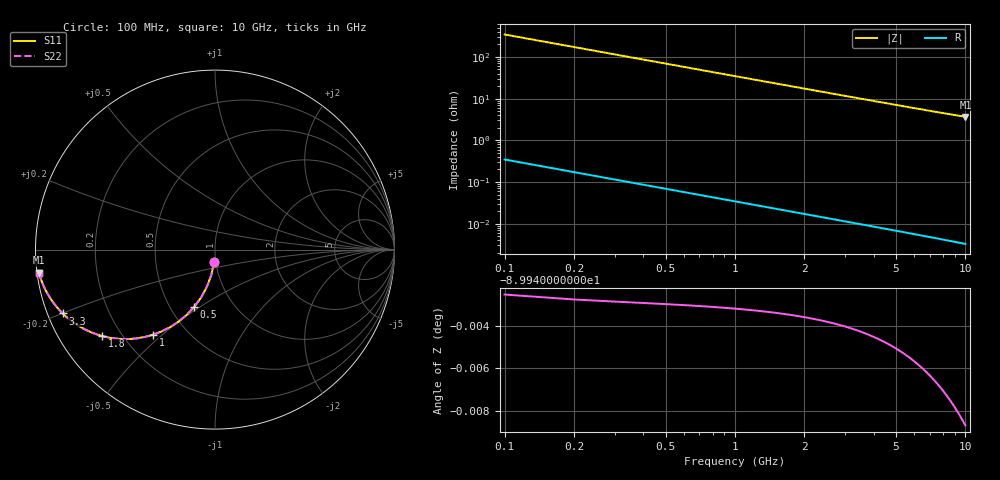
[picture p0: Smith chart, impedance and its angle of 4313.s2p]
# Hz S RI R 50.00
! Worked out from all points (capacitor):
!   100 points, 100 MHz to 10 GHz, reference 50 ohm
!   read as one part in shunt: C = 4.6 pF near 100 MHz
!   lowest |Z| = 3.65 ohm at 10 GHz (marker M1)
!   S11 on the Smith chart (normalised r, x): 100 MHz: 0.98, -0.14; 500 MHz: 0.66, -0.47; 1 GHz: 0.32, -0.47; 1.8 GHz: 0.13, -0.33; 3.3 GHz: 0.04, -0.20; 10 GHz: 0.01, -0.07
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1e8  -0.00526 -0.0719  0.9947 -0.072  0.9947 -0.072  -0.00526 -0.0719
2e8  -0.0206 -0.1415  0.9794 -0.1418  0.9794 -0.1418  -0.0206 -0.1415
3e8  -0.0451 -0.2069  0.9549 -0.2073  0.9549 -0.2073  -0.0451 -0.2069
4e8  -0.0774 -0.2664  0.9226 -0.267  0.9226 -0.267  -0.0774 -0.2664
5e8  -0.1157 -0.3191  0.8842 -0.3198  0.8842 -0.3198  -0.1157 -0.3191
6e8  -0.1585 -0.3643  0.8415 -0.3651  0.8415 -0.3651  -0.1585 -0.3643
7e8  -0.2039 -0.4019  0.7961 -0.4029  0.7961 -0.4029  -0.2039 -0.4019
8e8  -0.2505 -0.4322  0.7495 -0.4334  0.7495 -0.4334  -0.2505 -0.4322
1e9  -0.3427 -0.4734  0.6572 -0.4748  0.6572 -0.4748  -0.3427 -0.4734
1.3e9  -0.4679 -0.4975  0.532 -0.4994  0.532 -0.4994  -0.4679 -0.4975
1.5e9  -0.539 -0.4969  0.461 -0.499  0.461 -0.499  -0.539 -0.4969
1.8e9  -0.6269 -0.4818  0.373 -0.4844  0.373 -0.4844  -0.6269 -0.4818
2.1e9  -0.6954 -0.4582  0.3046 -0.4612  0.3046 -0.4612  -0.6954 -0.4582
2.5e9  -0.7635 -0.4226  0.2365 -0.4262  0.2365 -0.4262  -0.7635 -0.4226
2.9e9  -0.8126 -0.3876  0.1874 -0.3918  0.1874 -0.3918  -0.8126 -0.3876
3.3e9  -0.8486 -0.3555  0.1514 -0.3603  0.1514 -0.3603  -0.8486 -0.3555
3.4e9  -0.8561 -0.3481  0.1439 -0.353  0.1439 -0.353  -0.8561 -0.3481
4.2e9  -0.9005 -0.2957  0.0994 -0.3018  0.0994 -0.3018  -0.9005 -0.2957
5.1e9  -0.9302 -0.2506  0.0698 -0.258  0.0698 -0.258  -0.9302 -0.2506
6.7e9  -0.9583 -0.1943  0.0416 -0.2042  0.0416 -0.2042  -0.9583 -0.1943
8.4e9  -0.9731 -0.1547  0.0268 -0.1673  0.0268 -0.1673  -0.9731 -0.1547
1e10  -0.981 -0.1283  0.0189 -0.1434  0.0189 -0.1434  -0.981 -0.1283
